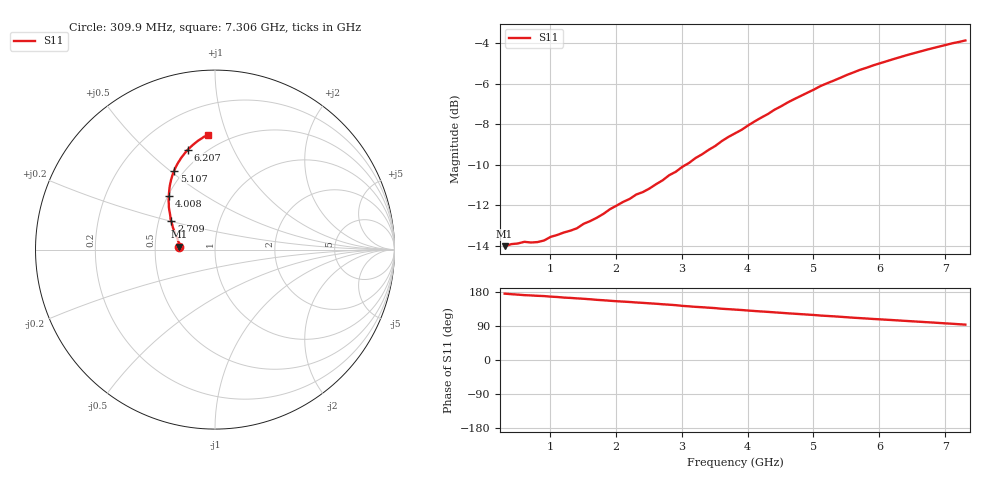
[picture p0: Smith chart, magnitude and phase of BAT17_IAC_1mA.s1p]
! Infineon Technologies  Discrete & RF Semiconductors
! BAT17
! IAC = 1 mA
! One-Port S-Parameters
# Hz  S  MA  R  50
!f  S11
!Hz  Mag  Ang
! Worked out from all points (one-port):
!   71 points, 309.9 MHz to 7.306 GHz, reference 50 ohm
!   lowest |S11| = -14.0 dB at 309.9 MHz (marker M1), VSWR 1.50, Z = 33.4 + j1.17 ohm
!   |S11| at or under -10 dB: start of sweep to 3.058 GHz
!   S11 on the Smith chart (normalised r, x): 309.9 MHz: 0.67, +0.02; 2.709 GHz: 0.58, +0.20; 4.008 GHz: 0.50, +0.36; 5.107 GHz: 0.44, +0.52; 6.207 GHz: 0.41, +0.68; 7.306 GHz: 0.40, +0.86
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3.0985e8  0.1994 175.2
6.097e8  0.2043 171.2
8.096e8  0.2041 169.4
9.0955e8  0.2059 168.7
1.0095e9  0.2102 167.2
1.2094e9  0.2155 164.7
1.4093e9  0.2207 162.6
2.10895e9  0.2563 154.1
2.50875e9  0.2766 149.5
2.70865e9  0.2898 147.1
2.8086e9  0.2983 146.0
2.90855e9  0.3042 144.7
3.0085e9  0.3129 142.8
3.50825e9  0.3522 136.9
3.6082e9  0.3622 135.2
3.8081e9  0.3784 133.0
4.008e9  0.3959 130.5
4.4078e9  0.4327 125.7
4.70765e9  0.4596 122.2
5.0075e9  0.4853 118.7
5.10745e9  0.4951 117.2
5.30735e9  0.5106 115.2
5.6072e9  0.5349 111.6
6.2069e9  0.5764 105.3
6.50675e9  0.5955 102.0
6.8066e9  0.6136 98.9
7.10645e9  0.6311 95.7
7.30635e9  0.6413 93.3
